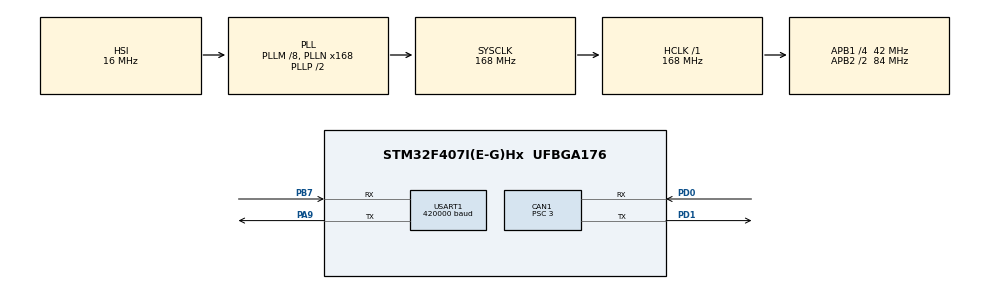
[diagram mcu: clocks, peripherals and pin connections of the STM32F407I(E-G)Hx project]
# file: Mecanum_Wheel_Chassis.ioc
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CAN1.ABOM=ENABLE
CAN1.BS1=CAN_BS1_10TQ
CAN1.BS2=CAN_BS2_3TQ
CAN1.CalculateBaudRate=1000000
CAN1.CalculateTimeBit=1000
CAN1.CalculateTimeQuantum=71.42857142857143
CAN1.NART=ENABLE
CAN1.Prescaler=3
Dma.Request0=USART1_RX
Dma.Request1=USART1_TX
Dma.USART1_RX.0.Direction=DMA_PERIPH_TO_MEMORY
Dma.USART1_RX.0.FIFOMode=DMA_FIFOMODE_DISABLE
Dma.USART1_RX.0.Instance=DMA2_Stream2
Dma.USART1_RX.0.MemDataAlignment=DMA_MDATAALIGN_BYTE
Dma.USART1_RX.0.MemInc=DMA_MINC_ENABLE
Dma.USART1_RX.0.Mode=DMA_NORMAL
Dma.USART1_RX.0.PeriphDataAlignment=DMA_PDATAALIGN_BYTE
Dma.USART1_RX.0.PeriphInc=DMA_PINC_DISABLE
Dma.USART1_RX.0.Priority=DMA_PRIORITY_LOW
Dma.USART1_TX.1.Direction=DMA_MEMORY_TO_PERIPH
Dma.USART1_TX.1.FIFOMode=DMA_FIFOMODE_DISABLE
Dma.USART1_TX.1.Instance=DMA2_Stream7
Dma.USART1_TX.1.MemDataAlignment=DMA_MDATAALIGN_BYTE
Dma.USART1_TX.1.MemInc=DMA_MINC_ENABLE
Dma.USART1_TX.1.Mode=DMA_NORMAL
Dma.USART1_TX.1.PeriphDataAlignment=DMA_PDATAALIGN_BYTE
Dma.USART1_TX.1.PeriphInc=DMA_PINC_DISABLE
Dma.USART1_TX.1.Priority=DMA_PRIORITY_LOW
Mcu.Family=STM32F4
Mcu.Name=STM32F407I(E-G)Hx
Mcu.Package=UFBGA176
NVIC.CAN1_RX0_IRQn=true\:1\:0\:true\:false\:true\:true\:true\:true
NVIC.CAN1_RX1_IRQn=true\:1\:0\:true\:false\:true\:true\:true\:true
NVIC.DMA2_Stream2_IRQn=true\:0\:0\:false\:false\:true\:false\:true\:true
NVIC.DMA2_Stream7_IRQn=true\:0\:0\:false\:false\:true\:false\:true\:true
NVIC.PriorityGroup=NVIC_PRIORITYGROUP_4
NVIC.TIM8_UP_TIM13_IRQn=true\:3\:0\:true\:false\:true\:true\:true\:true
NVIC.USART1_IRQn=true\:2\:0\:true\:false\:true\:true\:true\:true
PA13.Mode=Serial_Wire
PA13.Signal=SYS_JTMS-SWDIO
PA14.Mode=Serial_Wire
PA14.Signal=SYS_JTCK-SWCLK
PA9.Mode=Asynchronous
PA9.Signal=USART1_TX
PB7.Mode=Asynchronous
PB7.Signal=USART1_RX
PD0.Mode=CAN_Activate
PD0.Signal=CAN1_RX
PD1.Mode=CAN_Activate
PD1.Signal=CAN1_TX
PH0-OSC_IN.Mode=HSE-External-Oscillator
PH0-OSC_IN.Signal=RCC_OSC_IN
PH1-OSC_OUT.Mode=HSE-External-Oscillator
PH1-OSC_OUT.Signal=RCC_OSC_OUT
ProjectManager.HeapSize=0x200
ProjectManager.StackSize=0x400
ProjectManager.TargetToolchain=CMake
RCC.48MHZClocksFreq_Value=84000000
RCC.AHBFreq_Value=168000000
RCC.APB1CLKDivider=RCC_HCLK_DIV4
RCC.APB1Freq_Value=42000000
RCC.APB1TimFreq_Value=84000000
RCC.APB2CLKDivider=RCC_HCLK_DIV2
RCC.APB2Freq_Value=84000000
RCC.APB2TimFreq_Value=168000000
RCC.CortexFreq_Value=168000000
RCC.HCLKFreq_Value=168000000
RCC.HSE_VALUE=12000000
RCC.HSI_VALUE=16000000
RCC.LSE_VALUE=32768
RCC.PLLM=8
RCC.PLLN=168
RCC.SYSCLKFreq_VALUE=168000000
RCC.SYSCLKSource=RCC_SYSCLKSOURCE_PLLCLK
RCC.VCOOutputFreq_Value=336000000
TIM8.AutoReloadPreload=TIM_AUTORELOAD_PRELOAD_ENABLE
TIM8.Period=999
TIM8.Prescaler=167
USART1.BaudRate=420000
USART1.VirtualMode=VM_ASYNC
VP_TIM8_VS_ClockSourceINT.Mode=Internal
board=custom

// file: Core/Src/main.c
/* USER CODE BEGIN Header */
/**
  ******************************************************************************
  * @file           : main.c
  * @brief          : Main program body
  ******************************************************************************
  * @attention
  *
  * Copyright (c) 2026 STMicroelectronics.
  * All rights reserved.
  *
  * This software is licensed under terms that can be found in the LICENSE file
  * in the root directory of this software component.
  * If no LICENSE file comes with this software, it is provided AS-IS.
  *
  ******************************************************************************
  */
/* USER CODE END Header */
#include "main.h"
#include "can.h"
#include "dma.h"
#include "tim.h"
#include "usart.h"
#include "gpio.h"

/* USER CODE BEGIN Includes */
#include "drv_can.h"
#include "dvc_DJI_M3508.h"
#include "alg_mecanum_wheel_chassis.h"
#include "app_experiment.h"
/* USER CODE END Includes */

/* USER CODE BEGIN PV */
Struct_RM_Motor_M3508 LF_M3508;
Struct_RM_Motor_M3508 LB_M3508;
Struct_RM_Motor_M3508 RB_M3508;
Struct_RM_Motor_M3508 RF_M3508;

float LF_Torque = 0.0f;
float LB_Torque = 0.0f;
float RB_Torque = 0.0f;
float RF_Torque = 0.0f;

float LF_Omega = 0.0f;
float LB_Omega = 0.0f;
float RB_Omega = 0.0f;
float RF_Omega = 0.0f;

Struct_Chassis_Config Mecanum_Chassis_Config = {.a = 0.215f, .b = 0.2215f, .R = 0.077f, .max_omega = 15.0f, .max_torque = 2.5f};
Struct_Target_Velocity Mecanum_Target_Velocity;
Struct_Wheel_Velocity Mecanum_Wheel_Velocity;

/* USER CODE END PV */

void SystemClock_Config(void);
/* USER CODE BEGIN PFP */
void DJI_RM_CAN_Callback(Struct_CAN_Rx_Buffer *Rx_Buffer);
/* USER CODE END PFP */

/* USER CODE BEGIN 0 */
void DJI_RM_CAN_Callback(Struct_CAN_Rx_Buffer *Rx_Buffer)
{
  if (Rx_Buffer->Header.IDE != CAN_ID_STD || Rx_Buffer->Header.RTR != CAN_RTR_DATA ||
      Rx_Buffer->Header.DLC != 8) return;
  switch (Rx_Buffer->Header.StdId)
  {
    case (0x201):
      {
        DJI_M3508_CAN_RxCpltCallback(&LF_M3508, Rx_Buffer->Data);
        Experiment_Feedback(0);
        LF_Omega = DJI_M3508_Get_Now_Omega(&LF_M3508);
        LF_Torque = DJI_M3508_Get_Now_Torque(&LF_M3508);
      }
      break;
    case (0x202):
      {
        DJI_M3508_CAN_RxCpltCallback(&LB_M3508, Rx_Buffer->Data);
        Experiment_Feedback(1);
        LB_Omega = DJI_M3508_Get_Now_Omega(&LB_M3508);
        LB_Torque = DJI_M3508_Get_Now_Torque(&LB_M3508);
      }
      break;
    case (0x203):
      {
        DJI_M3508_CAN_RxCpltCallback(&RB_M3508, Rx_Buffer->Data);
        Experiment_Feedback(2);
        RB_Omega = DJI_M3508_Get_Now_Omega(&RB_M3508);
        RB_Torque = DJI_M3508_Get_Now_Torque(&RB_M3508);
      }
      break;
    case (0x204):
      {
        DJI_M3508_CAN_RxCpltCallback(&RF_M3508, Rx_Buffer->Data);
        Experiment_Feedback(3);
        RF_Omega = DJI_M3508_Get_Now_Omega(&RF_M3508);
        RF_Torque = DJI_M3508_Get_Now_Torque(&RF_M3508);
      }
      break;
    default:
      break;
  }
}

void HAL_TIM_PeriodElapsedCallback(TIM_HandleTypeDef *htim)
{
  if (htim->Instance == TIM8)
  {
    Experiment_Control_1ms();

    TIM_CAN_PeriodElapsedCallback();
  }
}

/* USER CODE END 0 */

int main(void)
{

  /* MCU Configuration--------------------------------------------------------*/

  /* Reset of all peripherals, Initializes the Flash interface and the Systick. */
  HAL_Init();

  /* Configure the system clock */
  SystemClock_Config();

  /* Initialize all configured peripherals */
  MX_GPIO_Init();
  MX_DMA_Init();
  MX_CAN1_Init();
  MX_USART1_UART_Init();
  MX_TIM8_Init();
  /* USER CODE BEGIN 2 */
  DJI_M3508_Init(&hcan1, &LF_M3508, RM_Motor_ID_0x201, Control_Method_OMEGA, 3591.0f/187.0f, 2.5f);
  DJI_M3508_Init(&hcan1, &LB_M3508, RM_Motor_ID_0x202, Control_Method_OMEGA, 3591.0f/187.0f, 2.5f);
  DJI_M3508_Init(&hcan1, &RB_M3508, RM_Motor_ID_0x203, Control_Method_OMEGA, 3591.0f/187.0f, 2.5f);
  DJI_M3508_Init(&hcan1, &RF_M3508, RM_Motor_ID_0x204, Control_Method_OMEGA, 3591.0f/187.0f, 2.5f);
  PID_Init(&LF_M3508.PID_Omega, 5200.0f, 0.001f, 0.0f, 0.0f, 8192.0f, 5000.0f,
           0.001f, 0.0f,5.0f, 15.0f, 0.0f, 1);
  PID_Init(&LB_M3508.PID_Omega, 4000.0f, 0.0f, 0.0f, 0.0f, 8192.0f, 5000.0f,
           0.001f, 0.0f, 5.0f, 15.0f, 0.0f, 1);
  PID_Init(&RB_M3508.PID_Omega, 5000.0f, 0.001f, 0.0f, 0.0f, 8192.0f, 5000.0f,
           0.001f, 0.0f, 5.0f, 15.0f, 0.0f, 1);
  PID_Init(&RF_M3508.PID_Omega, 2000.0f, 0.0f, 0.0f, 0.0f, 8192.0f, 5000.0f,
           0.001f, 0.0f, 5.0f, 15.0f, 0.0f, 1);
  Experiment_Init(&LF_M3508, &LB_M3508, &RB_M3508, &RF_M3508, &Mecanum_Chassis_Config);
  CAN_Init(&hcan1, DJI_RM_CAN_Callback);
  HAL_TIM_Base_Start_IT(&htim8);
  /* USER CODE END 2 */

  /* Infinite loop */
  /* USER CODE BEGIN WHILE */
  while (1)
  {
    Experiment_Poll();

    /* USER CODE END WHILE */

  }
}

void SystemClock_Config(void)
{
  RCC_OscInitTypeDef RCC_OscInitStruct = {0};
  RCC_ClkInitTypeDef RCC_ClkInitStruct = {0};

  /** Configure the main internal regulator output voltage
  */
  __HAL_RCC_PWR_CLK_ENABLE();
  __HAL_PWR_VOLTAGESCALING_CONFIG(PWR_REGULATOR_VOLTAGE_SCALE1);

  /** Initializes the RCC Oscillators according to the specified parameters
  * in the RCC_OscInitTypeDef structure.
  */
  RCC_OscInitStruct.OscillatorType = RCC_OSCILLATORTYPE_HSI;
  RCC_OscInitStruct.HSIState = RCC_HSI_ON;
  RCC_OscInitStruct.HSICalibrationValue = RCC_HSICALIBRATION_DEFAULT;
  RCC_OscInitStruct.PLL.PLLState = RCC_PLL_ON;
  RCC_OscInitStruct.PLL.PLLSource = RCC_PLLSOURCE_HSI;
  RCC_OscInitStruct.PLL.PLLM = 8;
  RCC_OscInitStruct.PLL.PLLN = 168;
  RCC_OscInitStruct.PLL.PLLP = RCC_PLLP_DIV2;
  RCC_OscInitStruct.PLL.PLLQ = 4;
  if (HAL_RCC_OscConfig(&RCC_OscInitStruct) != HAL_OK)
  {
    Error_Handler();
  }

  /** Initializes the CPU, AHB and APB buses clocks
  */
  RCC_ClkInitStruct.ClockType = RCC_CLOCKTYPE_HCLK|RCC_CLOCKTYPE_SYSCLK
                              |RCC_CLOCKTYPE_PCLK1|RCC_CLOCKTYPE_PCLK2;
  RCC_ClkInitStruct.SYSCLKSource = RCC_SYSCLKSOURCE_PLLCLK;
  RCC_ClkInitStruct.AHBCLKDivider = RCC_SYSCLK_DIV1;
  RCC_ClkInitStruct.APB1CLKDivider = RCC_HCLK_DIV4;
  RCC_ClkInitStruct.APB2CLKDivider = RCC_HCLK_DIV2;

  if (HAL_RCC_ClockConfig(&RCC_ClkInitStruct, FLASH_LATENCY_5) != HAL_OK)
  {
    Error_Handler();
  }
}

void Error_Handler(void)
{
  __disable_irq();
  while (1)
  {
  }
}
